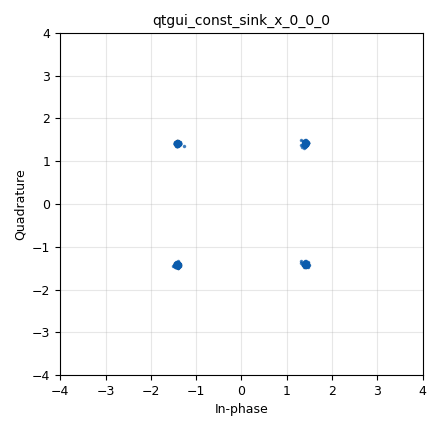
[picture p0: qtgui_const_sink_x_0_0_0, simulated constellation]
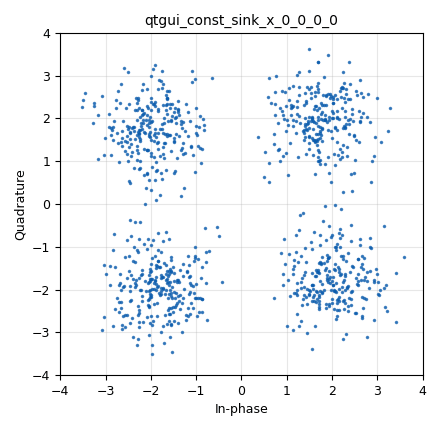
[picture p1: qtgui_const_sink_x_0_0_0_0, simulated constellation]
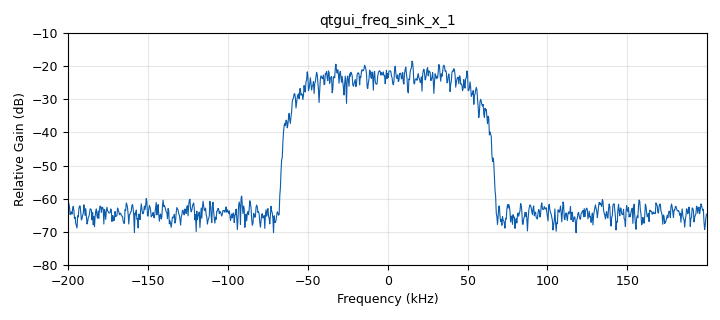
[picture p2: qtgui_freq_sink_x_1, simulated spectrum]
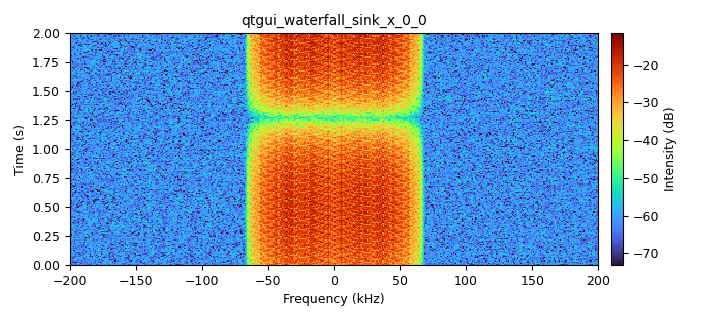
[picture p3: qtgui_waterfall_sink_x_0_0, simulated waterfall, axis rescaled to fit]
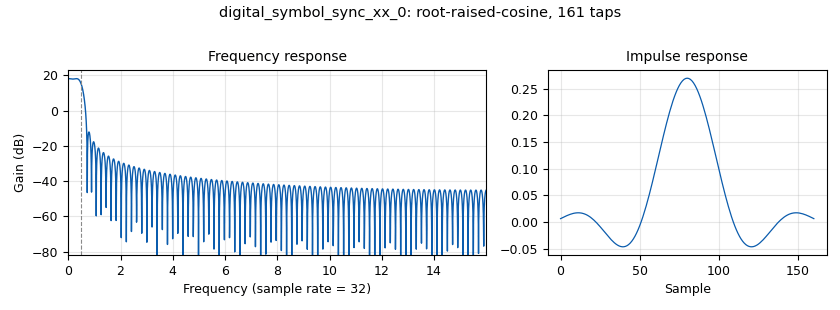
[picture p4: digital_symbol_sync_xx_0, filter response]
options:
  parameters:
    generate_options: qt_gui
    id: rayleighchan
    output_language: python
    title: Figure 7.13 Rayleigh channel model
  states: {}

blocks:
- name: adapt_alg
  id: variable_adaptive_algorithm
  parameters:
    cons: my_variable_constellation
    modulus: '4'
    step_size: '.0001'
    type: lms
  states: {}
- name: my_variable_constellation
  id: variable_constellation
  parameters:
    precision: '8'
    type: qpsk
  states: {}
- name: nfilts
  id: variable
  parameters:
    value: '8'
  states: {}
- name: rrc
  id: variable
  parameters:
    value: firdes.root_raised_cosine(nfilts, nfilts, 1.0/float(sps), 0.35, 11*sps*nfilts)
  states: {}
- name: rrcr
  id: variable
  parameters:
    value: firdes.root_raised_cosine(nfilts, nfilts * sps,1.0, 0.35, 5*sps*nfilts+1)
  states: {}
- name: samp_rate
  id: variable
  parameters:
    value: '400000'
  states: {}
- name: sps
  id: variable
  parameters:
    value: '4'
  states: {}
- name: analog_random_source_x_0
  id: analog_random_source_x
  parameters:
    max: '256'
    min: '0'
    num_samps: '1000'
    repeat: 'True'
    type: byte
  states: {}
- name: blocks_throttle2_0
  id: blocks_throttle2
  parameters:
    samples_per_second: samp_rate
    type: complex
  states: {}
- name: channels_channel_model_0
  id: channels_channel_model
  parameters:
    epsilon: '1.0'
    freq_offset: '0.0'
    noise_voltage: '0.05'
    seed: '0'
    taps: '1'
  states: {}
- name: channels_fading_model_0
  id: channels_fading_model
  parameters:
    LOS: 'False'
    N: '8'
    fDTs: 0.5/samp_rate
    seed: '0'
  states: {}
- name: digital_constellation_modulator_0
  id: digital_constellation_modulator
  parameters:
    constellation: my_variable_constellation
    differential: 'True'
    excess_bw: '0.35'
    samples_per_symbol: sps
  states: {}
- name: digital_linear_equalizer_0_0
  id: digital_linear_equalizer
  parameters:
    alg: adapt_alg
    num_taps: '15'
    sps: int(sps)
  states: {}
- name: digital_symbol_sync_xx_0
  id: digital_symbol_sync_xx
  parameters:
    constellation: digital.constellation_qpsk().base()
    damping: '0.707'
    loop_bw: 2*numpy.pi/500
    max_dev: '1.5'
    nfilters: nfilts
    osps: int(sps)
    pfb_mf_taps: rrcr
    resamp_type: digital.IR_PFB_MF
    sps: sps
    ted_gain: '2.6'
    ted_type: digital.TED_ZERO_CROSSING
    type: cc
  states: {}
- name: qtgui_const_sink_x_0_0_0
  id: qtgui_const_sink_x
  parameters:
    size: '1024'
    type: complex
    update_time: '0.01'
    xmax: '4'
    xmin: '-4'
    ymax: '4'
    ymin: '-4'
  states: {}
- name: qtgui_const_sink_x_0_0_0_0
  id: qtgui_const_sink_x
  parameters:
    size: '1024'
    type: complex
    update_time: '0.01'
    xmax: '4'
    xmin: '-4'
    ymax: '4'
    ymin: '-4'
  states: {}
- name: qtgui_freq_sink_x_1
  id: qtgui_freq_sink_x
  parameters:
    average: '0.2'
    bw: samp_rate
    fc: '0'
    fftsize: '1024'
    type: complex
    ymax: '-10'
    ymin: '-80'
  states: {}
- name: qtgui_waterfall_sink_x_0_0
  id: qtgui_waterfall_sink_x
  parameters:
    bw: samp_rate
    fc: '0'
    fftsize: '1024'
    int_max: '-20'
    int_min: '-60'
    type: complex
    update_time: '0.01'
  states: {}
- name: rational_resampler_xxx_1
  id: rational_resampler_xxx
  parameters:
    decim: sps
    interp: '1'
    type: ccc
  states: {}

connections:
- [analog_random_source_x_0, '0', digital_constellation_modulator_0, '0']
- [blocks_throttle2_0, '0', qtgui_const_sink_x_0_0_0, '0']
- [channels_channel_model_0, '0', digital_symbol_sync_xx_0, '0']
- [channels_channel_model_0, '0', qtgui_freq_sink_x_1, '0']
- [channels_channel_model_0, '0', qtgui_waterfall_sink_x_0_0, '0']
- [channels_channel_model_0, '0', rational_resampler_xxx_1, '0']
- [channels_fading_model_0, '0', channels_channel_model_0, '0']
- [digital_constellation_modulator_0, '0', channels_fading_model_0, '0']
- [digital_linear_equalizer_0_0, '0', blocks_throttle2_0, '0']
- [digital_symbol_sync_xx_0, '0', digital_linear_equalizer_0_0, '0']
- [rational_resampler_xxx_1, '0', qtgui_const_sink_x_0_0_0_0, '0']

metadata:
  file_format: 1
  grc_version: 3.10.9.2
